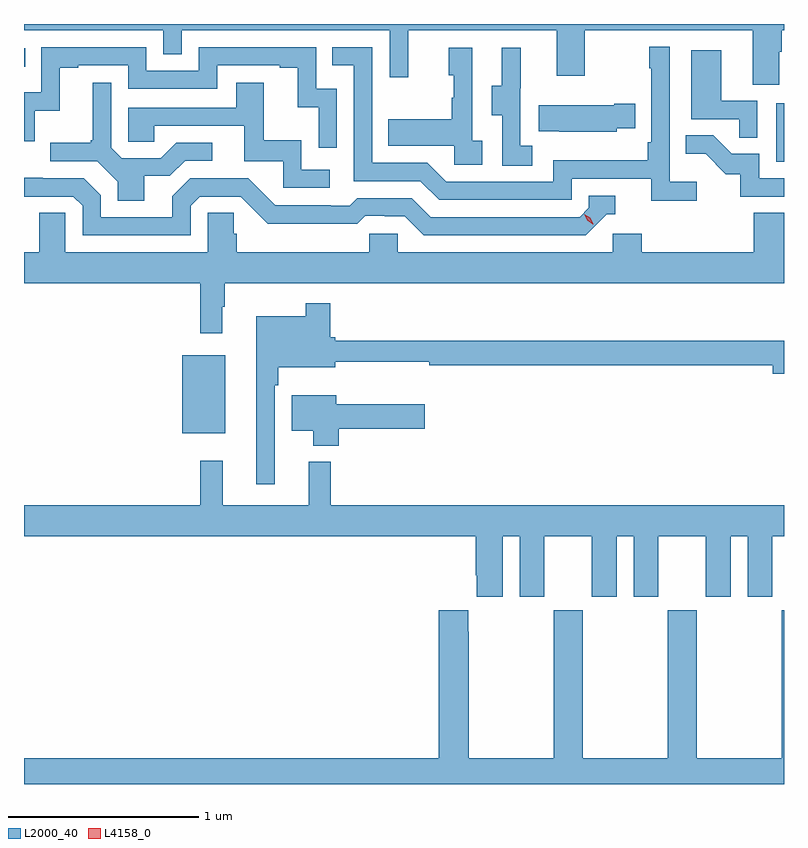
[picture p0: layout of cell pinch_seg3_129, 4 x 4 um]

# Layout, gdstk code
import gdstk
lib = gdstk.Library(unit=1e-6, precision=1e-09)
def R(c, l, rs):  # rectangles x0, y0, x1, y1
    for r in rs: c.add(gdstk.rectangle(r[:2], r[2:], *l))
def P(c, l, *ps):  # polygons
    for p in ps: c.add(gdstk.Polygon(p, *l))
L2000_40 = (2000, 40)
L4158_0 = (4158, 0)

pinch_seg3_129 = lib.new_cell('pinch_seg3_129')
R(pinch_seg3_129, L2000_40, [(1118.612,708.119,1118.839,708.529), (1121.738,709.548,1121.78,709.855), (1117.78,710.048,1117.787,710.145)])
P(pinch_seg3_129, L2000_40, [(1121.755,710.128),(1121.768,710.128),(1121.768,710.24),(1121.78,710.24),(1121.78,710.273),(1117.78,710.273),(1117.78,710.24),(1118.514,710.24),(1118.514,710.113),(1118.61,710.113),(1118.61,710.24),(1119.705,710.24),(1119.705,709.992),(1119.803,709.992),(1119.803,710.24),(1120.583,710.24),(1120.583,710.001),(1120.731,710.001),(1120.731,710.24),(1121.615,710.24),(1121.615,709.954),(1121.755,709.954)],
  [(1121.32,709.444),(1121.178,709.444),(1121.178,710.152),(1121.07,710.152),(1121.07,710.039),(1121.082,710.039),(1121.082,709.651),(1121.062,709.651),(1121.062,709.555),(1120.566,709.555),(1120.566,709.443),(1120.002,709.443),(1119.903,709.542),(1119.612,709.542),(1119.612,710.151),(1119.403,710.151),(1119.403,710.055),(1119.516,710.055),(1119.516,709.446),(1119.866,709.446),(1119.965,709.347),(1120.662,709.347),(1120.662,709.458),(1121.081,709.458),(1121.081,709.342),(1121.32,709.342)],
  [(1119.426,709.932),(1119.318,709.932),(1119.318,710.151),(1118.7,710.151),(1118.7,710.028),(1118.424,710.028),(1118.424,710.151),(1117.872,710.151),(1117.872,709.915),(1117.78,709.915),(1117.78,709.656),(1117.836,709.656),(1117.836,709.817),(1117.969,709.817),(1117.969,710.043),(1118.065,710.043),(1118.065,710.055),(1118.328,710.055),(1118.328,709.932),(1118.796,709.932),(1118.796,710.055),(1119.125,710.055),(1119.125,710.043),(1119.221,710.043),(1119.221,709.835),(1119.33,709.835),(1119.33,709.623),(1119.426,709.623)],
  [(1120.456,709.631),(1120.392,709.631),(1120.392,709.935),(1120.394,709.935),(1120.394,710.149),(1120.295,710.149),(1120.295,709.947),(1120.241,709.947),(1120.241,709.792),(1120.296,709.792),(1120.296,709.528),(1120.456,709.528)],
  [(1120.192,709.658),(1120.14,709.658),(1120.14,710.149),(1120.016,710.149),(1120.016,710.004),(1120.042,710.004),(1120.042,709.886),(1120.032,709.886),(1120.032,709.771),(1119.697,709.771),(1119.697,709.631),(1120.044,709.631),(1120.044,709.533),(1120.192,709.533)],
  [(1121.64,709.869),(1121.449,709.869),(1121.449,710.134),(1121.291,710.134),(1121.291,709.773),(1121.545,709.773),(1121.545,709.675),(1121.64,709.675)],
  [(1118.413,709.474),(1118.548,709.474),(1118.628,709.554),(1118.77,709.554),(1118.77,709.647),(1118.582,709.647),(1118.501,709.566),(1118.295,709.566),(1118.238,709.623),(1118.238,709.963),(1118.141,709.963),(1118.141,709.66),(1118.13,709.66),(1118.13,709.648),(1117.917,709.648),(1117.917,709.551),(1118.166,709.551),(1118.273,709.444),(1118.273,709.342),(1118.413,709.342)],
  [(1119.388,709.506),(1119.24,709.506),(1119.24,709.66),(1119.041,709.66),(1119.041,709.963),(1118.897,709.963),(1118.897,709.833),(1118.328,709.833),(1118.328,709.653),(1118.465,709.653),(1118.465,709.737),(1118.939,709.737),(1118.939,709.551),(1119.144,709.551),(1119.144,709.41),(1119.388,709.41)],
  [(1120.899,709.724),(1120.997,709.724),(1120.997,709.854),(1120.886,709.854),(1120.886,709.846),(1120.489,709.846),(1120.489,709.709),(1120.597,709.709),(1120.597,709.706),(1120.899,709.706)],
  [(1121.78,709.461),(1121.649,709.461),(1121.649,709.59),(1121.505,709.59),(1121.407,709.688),(1121.263,709.688),(1121.263,709.589),(1121.367,709.589),(1121.474,709.482),(1121.551,709.482),(1121.551,709.365),(1121.78,709.365)],
  [(1118.658,709.317),(1118.706,709.365),(1118.922,709.365),(1119.064,709.223),(1119.3,709.223),(1119.3,709.221),(1119.533,709.221),(1119.575,709.263),(1119.678,709.263),(1119.678,709.26),(1119.785,709.26),(1119.884,709.161),(1120.737,709.161),(1120.848,709.272),(1120.891,709.272),(1120.891,709.368),(1120.752,709.368),(1120.752,709.305),(1120.704,709.257),(1119.921,709.257),(1119.822,709.356),(1119.533,709.356),(1119.494,709.317),(1119.395,709.317),(1119.395,709.32),(1119.102,709.32),(1118.961,709.461),(1118.655,709.461),(1118.561,709.367),(1118.561,709.257),(1118.184,709.257),(1118.184,709.371),(1118.094,709.461),(1117.878,709.461),(1117.878,709.463),(1117.78,709.463),(1117.78,709.365),(1118.04,709.365),(1118.088,709.317),(1118.088,709.161),(1118.658,709.161)],
  [(1118.824,708.785),(1118.836,708.785),(1118.836,708.908),(1121.78,708.908),(1121.78,709.28),(1121.621,709.28),(1121.621,709.072),(1121.03,709.072),(1121.03,709.17),(1120.878,709.17),(1120.878,709.072),(1119.747,709.072),(1119.747,709.17),(1119.597,709.17),(1119.597,709.072),(1118.9,709.072),(1118.9,709.17),(1118.885,709.17),(1118.885,709.28),(1118.748,709.28),(1118.748,709.072),(1117.998,709.072),(1117.998,709.28),(1117.859,709.28),(1117.859,709.072),(1117.78,709.072),(1117.78,708.908),(1118.707,708.908),(1118.707,708.645),(1118.824,708.645)],
  [(1119.099,708.371),(1119.119,708.371),(1119.119,708.467),(1119.418,708.467),(1119.418,708.496),(1119.914,708.496),(1119.914,708.478),(1121.72,708.478),(1121.72,708.431),(1121.78,708.431),(1121.78,708.607),(1119.418,708.607),(1119.418,708.625),(1119.392,708.625),(1119.392,708.802),(1119.264,708.802),(1119.264,708.736),(1119.002,708.736),(1119.002,707.85),(1119.099,707.85)],
  [(1119.437,708.142),(1119.889,708.142),(1119.889,708.271),(1119.424,708.271),(1119.424,708.319),(1119.188,708.319),(1119.188,708.131),(1119.302,708.131),(1119.302,708.053),(1119.437,708.053)],
  [(1120.3,707.576),(1120.388,707.576),(1120.388,707.259),(1120.519,707.259),(1120.519,707.576),(1120.769,707.576),(1120.769,707.259),(1120.9,707.259),(1120.9,707.576),(1120.988,707.576),(1120.988,707.259),(1121.119,707.259),(1121.119,707.576),(1121.369,707.576),(1121.369,707.259),(1121.5,707.259),(1121.5,707.576),(1121.588,707.576),(1121.588,707.259),(1121.719,707.259),(1121.719,707.576),(1121.78,707.576),(1121.78,707.74),(1119.395,707.74),(1119.395,707.968),(1119.278,707.968),(1119.278,707.74),(1118.825,707.74),(1118.825,707.974),(1118.707,707.974),(1118.707,707.74),(1117.78,707.74),(1117.78,707.576),(1120.157,707.576),(1120.157,707.371),(1120.163,707.371),(1120.163,707.259),(1120.3,707.259)],
  [(1121.78,707.188),(1121.767,707.188),(1121.767,706.408),(1121.322,706.408),(1121.322,707.188),(1121.167,707.188),(1121.167,706.408),(1120.722,706.408),(1120.722,707.188),(1120.567,707.188),(1120.567,706.408),(1120.122,706.408),(1120.122,707.075),(1120.117,707.075),(1120.117,707.188),(1119.962,707.188),(1119.962,706.408),(1117.78,706.408),(1117.78,706.273),(1121.78,706.273)])
P(pinch_seg3_129, L4158_0, [(1120.774,709.218),(1120.744,709.239),(1120.729,709.272),(1120.729,709.272),(1120.729,709.272),(1120.76,709.252),(1120.775,709.218),(1120.775,709.218)])

lib.write_gds('pinch_seg3_129.gds')
